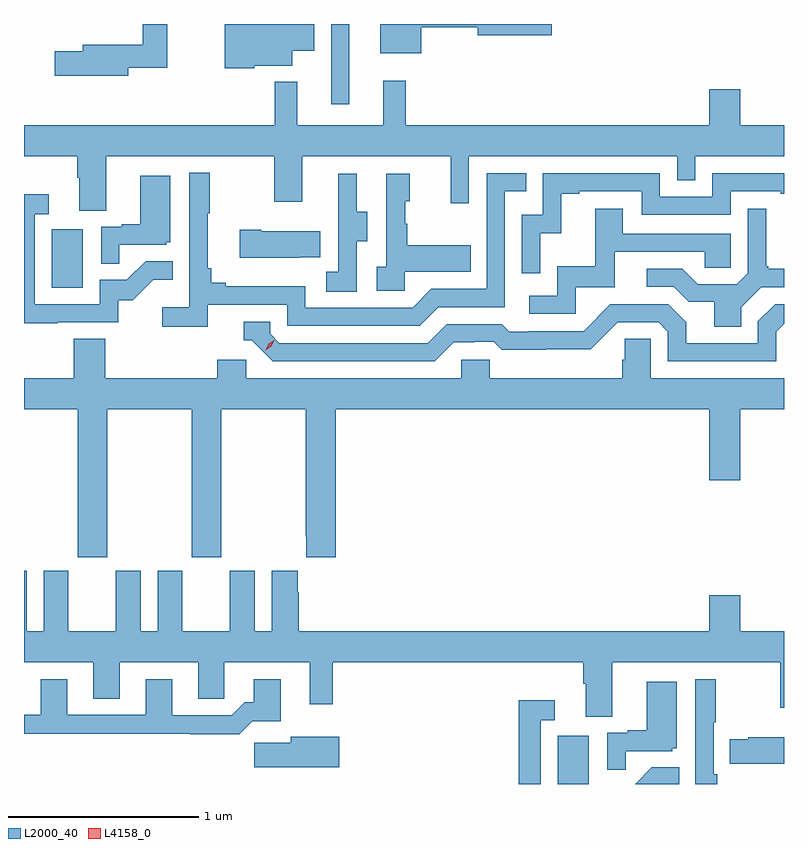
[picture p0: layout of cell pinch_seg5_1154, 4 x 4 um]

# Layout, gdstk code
import gdstk
lib = gdstk.Library(unit=1e-6, precision=1e-09)
def R(c, l, rs):  # rectangles x0, y0, x1, y1
    for r in rs: c.add(gdstk.rectangle(r[:2], r[2:], *l))
def P(c, l, *ps):  # polygons
    for p in ps: c.add(gdstk.Polygon(p, *l))
L2000_40 = (2000, 40)
L4158_0 = (4158, 0)

pinch_seg5_1154 = lib.new_cell('pinch_seg5_1154')
R(pinch_seg5_1154, L2000_40, [(823.55,850.792,823.714,851.047), (820.886,853.404,821.05,853.711), (822.357,854.37,822.454,854.792)])
P(pinch_seg5_1154, L2000_40, [(821.952,854.573),(822.154,854.573),(822.154,854.651),(822.268,854.651),(822.268,854.792),(821.798,854.792),(821.798,854.558),(821.952,854.558)],
  [(822.832,854.776),(823.13,854.776),(823.13,854.734),(823.519,854.734),(823.519,854.792),(822.617,854.792),(822.617,854.639),(822.832,854.639)],
  [(821.29,854.562),(821.494,854.562),(821.494,854.792),(821.365,854.792),(821.365,854.683),(821.051,854.683),(821.051,854.649),(820.902,854.649),(820.902,854.519),(821.29,854.519)],
  [(821.173,854.096),(822.058,854.096),(822.058,853.857),(822.205,853.857),(822.205,854.096),(822.986,854.096),(822.986,853.848),(823.083,853.848),(823.083,854.096),(824.178,854.096),(824.178,853.969),(824.274,853.969),(824.274,854.096),(824.741,854.096),(824.741,854.26),(824.512,854.26),(824.512,854.449),(824.348,854.449),(824.348,854.26),(822.749,854.26),(822.749,854.494),(822.632,854.494),(822.632,854.26),(822.179,854.26),(822.179,854.488),(822.061,854.488),(822.061,854.26),(820.741,854.26),(820.741,854.096),(821.021,854.096),(821.021,853.984),(821.033,853.984),(821.033,853.81),(821.173,853.81)],
  [(821.708,853.314),(822.126,853.314),(822.126,853.203),(822.823,853.203),(822.922,853.302),(823.272,853.302),(823.272,853.911),(823.385,853.911),(823.385,854.007),(823.176,854.007),(823.176,853.398),(822.885,853.398),(822.786,853.299),(822.222,853.299),(822.222,853.411),(821.803,853.411),(821.803,853.43),(821.726,853.43),(821.726,853.507),(821.707,853.507),(821.707,853.795),(821.719,853.795),(821.719,854.008),(821.61,854.008),(821.61,853.3),(821.469,853.3),(821.469,853.198),(821.708,853.198)],
  [(823.458,853.691),(823.568,853.691),(823.568,853.899),(823.663,853.899),(823.663,853.911),(823.992,853.911),(823.992,853.788),(824.46,853.788),(824.46,853.911),(824.723,853.911),(824.723,853.899),(824.741,853.899),(824.741,854.007),(824.364,854.007),(824.364,853.884),(824.088,853.884),(824.088,854.007),(823.47,854.007),(823.47,853.788),(823.362,853.788),(823.362,853.479),(823.458,853.479)],
  [(822.744,853.487),(823.091,853.487),(823.091,853.627),(822.757,853.627),(822.757,853.742),(822.747,853.742),(822.747,853.86),(822.772,853.86),(822.772,854.005),(822.648,854.005),(822.648,853.514),(822.597,853.514),(822.597,853.389),(822.744,853.389)],
  [(822.492,853.648),(822.547,853.648),(822.547,853.803),(822.493,853.803),(822.493,854.005),(822.395,854.005),(822.395,853.791),(822.396,853.791),(822.396,853.487),(822.333,853.487),(822.333,853.384),(822.492,853.384)],
  [(821.243,853.629),(821.49,853.629),(821.49,853.644),(821.512,853.644),(821.512,853.993),(821.354,853.993),(821.354,853.738),(821.255,853.738),(821.255,853.725),(821.148,853.725),(821.148,853.531),(821.243,853.531)],
  [(820.919,853.221),(821.238,853.221),(821.238,853.338),(821.314,853.338),(821.421,853.445),(821.525,853.445),(821.525,853.544),(821.381,853.544),(821.283,853.446),(821.139,853.446),(821.139,853.317),(820.797,853.317),(820.797,853.791),(820.87,853.791),(820.87,853.897),(820.741,853.897),(820.741,853.216),(820.919,853.216)],
  [(823.644,853.407),(823.849,853.407),(823.849,853.593),(824.323,853.593),(824.323,853.509),(824.46,853.509),(824.46,853.689),(823.891,853.689),(823.891,853.819),(823.747,853.819),(823.747,853.516),(823.548,853.516),(823.548,853.362),(823.401,853.362),(823.401,853.266),(823.644,853.266)],
  [(824.515,853.3),(824.622,853.407),(824.741,853.407),(824.741,853.504),(824.659,853.504),(824.659,853.516),(824.647,853.516),(824.647,853.819),(824.55,853.819),(824.55,853.479),(824.493,853.422),(824.287,853.422),(824.206,853.503),(824.019,853.503),(824.019,853.41),(824.16,853.41),(824.24,853.33),(824.375,853.33),(824.375,853.198),(824.515,853.198)],
  [(822.191,853.565),(822.299,853.565),(822.299,853.702),(821.989,853.702),(821.989,853.71),(821.877,853.71),(821.877,853.562),(822.191,853.562)],
  [(823.003,853.116),(823.11,853.116),(823.11,853.119),(823.213,853.119),(823.255,853.077),(823.488,853.077),(823.488,853.079),(823.724,853.079),(823.866,853.221),(824.082,853.221),(824.13,853.173),(824.13,853.017),(824.7,853.017),(824.7,853.173),(824.741,853.214),(824.741,853.317),(824.694,853.317),(824.604,853.227),(824.604,853.113),(824.227,853.113),(824.227,853.223),(824.133,853.317),(823.827,853.317),(823.686,853.176),(823.393,853.176),(823.393,853.173),(823.294,853.173),(823.255,853.212),(822.966,853.212),(822.867,853.113),(822.084,853.113),(822.036,853.161),(822.036,853.224),(821.897,853.224),(821.897,853.128),(821.94,853.128),(822.051,853.017),(822.904,853.017)],
  [(821.91,853.026),(821.759,853.026),(821.759,852.928),(821.168,852.928),(821.168,853.136),(821.003,853.136),(821.003,852.928),(820.741,852.928),(820.741,852.764),(821.023,852.764),(821.023,851.985),(821.178,851.985),(821.178,852.764),(821.623,852.764),(821.623,851.985),(821.778,851.985),(821.778,852.764),(822.223,852.764),(822.223,852.097),(822.227,852.097),(822.227,851.985),(822.383,851.985),(822.383,852.764),(824.348,852.764),(824.348,852.39),(824.512,852.39),(824.512,852.764),(824.741,852.764),(824.741,852.928),(824.04,852.928),(824.04,853.136),(823.903,853.136),(823.903,853.026),(823.889,853.026),(823.889,852.928),(823.191,852.928),(823.191,853.026),(823.041,853.026),(823.041,852.928),(821.91,852.928)],
  [(823.837,851.432),(824.722,851.432),(824.722,851.193),(824.741,851.193),(824.741,851.596),(824.512,851.596),(824.512,851.785),(824.348,851.785),(824.348,851.596),(822.188,851.596),(822.188,851.801),(822.181,851.801),(822.181,851.914),(822.044,851.914),(822.044,851.596),(821.956,851.596),(821.956,851.914),(821.825,851.914),(821.825,851.596),(821.575,851.596),(821.575,851.914),(821.444,851.914),(821.444,851.596),(821.356,851.596),(821.356,851.914),(821.225,851.914),(821.225,851.596),(820.975,851.596),(820.975,851.914),(820.844,851.914),(820.844,851.596),(820.756,851.596),(820.756,851.914),(820.741,851.914),(820.741,851.432),(821.105,851.432),(821.105,851.242),(821.245,851.242),(821.245,851.432),(821.657,851.432),(821.657,851.242),(821.796,851.242),(821.796,851.432),(822.245,851.432),(822.245,851.211),(822.367,851.211),(822.367,851.432),(823.685,851.432),(823.685,851.32),(823.697,851.32),(823.697,851.146),(823.837,851.146)],
  [(824.39,850.843),(824.37,850.843),(824.37,851.116),(824.383,851.116),(824.383,851.344),(824.274,851.344),(824.274,850.792),(824.39,850.792)],
  [(821.942,851.123),(822.091,851.123),(822.091,851.344),(821.951,851.344),(821.951,851.221),(821.902,851.221),(821.835,851.154),(821.521,851.154),(821.521,851.344),(821.381,851.344),(821.381,851.157),(820.969,851.157),(820.969,851.344),(820.829,851.344),(820.829,851.157),(820.741,851.157),(820.741,851.056),(821.617,851.056),(821.617,851.054),(821.873,851.054)],
  [(823.907,850.965),(824.154,850.965),(824.154,850.98),(824.176,850.98),(824.176,851.329),(824.018,851.329),(824.018,851.074),(823.919,851.074),(823.919,851.061),(823.812,851.061),(823.812,850.867),(823.907,850.867)],
  [(823.461,851.127),(823.534,851.127),(823.534,851.233),(823.345,851.233),(823.345,850.792),(823.461,850.792)],
  [(822.4,851.041),(822.146,851.041),(822.146,851.009),(821.952,851.009),(821.952,850.88),(822.4,850.88)],
  [(824.741,851.038),(824.553,851.038),(824.553,851.028),(824.455,851.028),(824.455,850.898),(824.741,850.898)],
  [(824.189,850.88),(824.045,850.88),(823.957,850.792),(824.189,850.792)])
P(pinch_seg5_1154, L4158_0, [(822.013,853.074),(822.013,853.075),(822.028,853.108),(822.059,853.128),(822.059,853.128),(822.059,853.128),(822.043,853.095),(822.013,853.074)])

lib.write_gds('pinch_seg5_1154.gds')
